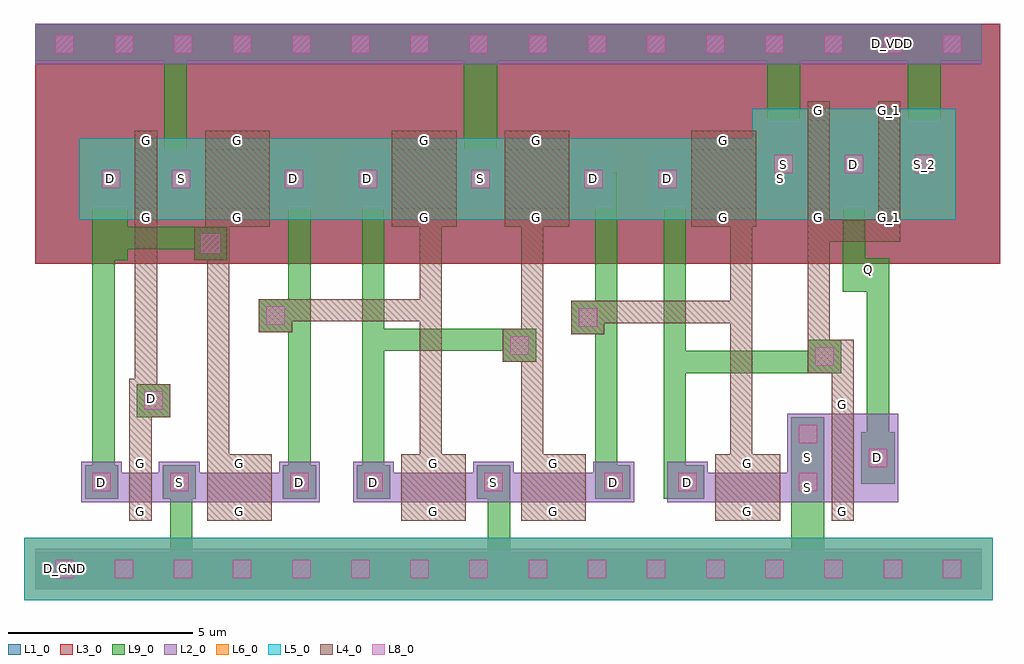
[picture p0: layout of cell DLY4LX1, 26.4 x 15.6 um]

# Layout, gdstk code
import gdstk
lib = gdstk.Library(unit=1e-6, precision=1e-09)
def R(c, l, rs):  # rectangles x0, y0, x1, y1
    for r in rs: c.add(gdstk.rectangle(r[:2], r[2:], *l))
def A(c, l, x, y, w, h, nx, ny, dx, dy):  # array of equal rectangles
    R(c, l, [(x+i*dx, y+j*dy, x+i*dx+w, y+j*dy+h) for i in range(nx) for j in range(ny)])
def P(c, l, *ps):  # polygons
    for p in ps: c.add(gdstk.Polygon(p, *l))
L1_0 = (1, 0)
L2_0 = (2, 0)
L3_0 = (3, 0)
L4_0 = (4, 0)
L5_0 = (5, 0)
L6_0 = (6, 0)
L8_0 = (8, 0)
L9_0 = (9, 0)

dly4lx1 = lib.new_cell('DLY4LX1')
R(dly4lx1, L1_0, [(3.9,5.8,9.9,10.4), (3.9,5.8,28,12.3), (5.8,5.8,12.95,10.4), (10.85,5.8,18,10.4), (13.9,5.8,21.05,10.4), (18.95,5.8,26.1,10.4), (22.1,5.8,30,11.2), (27.75,10.35,30,12.3)])
A(dly4lx1, L2_0, 23.6, 7.3, 1.1, 2.4, 3, 1, 1.9, 0)
R(dly4lx1, L2_0, [(3.9,-3,29.5,-1.9), (5.15,-0.65,6.25,0.45), (6.25,-0.65,7.25,0.15), (7.25,-0.65,8.35,0.45), (7.25,-0.65,8.35,0.45), (8.35,-0.65,10.5,0.15), (10.5,-0.65,11.6,0.45), (12.5,-0.65,13.6,0.45), (13.6,-0.65,15.75,0.15), (15.75,-0.65,16.85,0.45), (15.75,-0.65,16.85,0.45), (16.85,-0.65,19,0.15), (19,-0.65,20.1,0.45), (21,-0.65,22.1,0.45), (22.1,-0.65,24.25,0.15), (24.25,-0.65,25.35,0.45), (24.25,-0.65,25.35,0.15), (24.25,-0.65,25.35,1.75), (25.35,-0.65,26.15,1.75), (26.15,-0.65,27.25,1.75), (24.25,0.65,25.35,1.75), (5.4,7.3,6.5,8.9), (6.5,7.3,7.3,8.9), (7.3,7.3,8.4,8.9), (7.3,7.3,8.4,8.9), (8.4,7.3,10.35,8.9), (10.35,7.3,11.45,8.9), (12.35,7.3,13.45,8.9), (13.45,7.3,15.4,8.9), (15.4,7.3,16.5,8.9), (15.4,7.3,16.5,8.9), (16.5,7.3,18.45,8.9), (18.45,7.3,19.55,8.9), (20.45,7.3,21.55,8.9), (21.55,7.3,23.5,8.9), (23.5,7.3,24.6,8.9), (24.7,7.3,25.5,9.7), (26.6,7.3,27.4,9.7), (3.9,11.2,29.5,12.3)])
R(dly4lx1, L3_0, [(3.9,5.8,9.9,10.4), (3.9,5.8,28,12.3), (5.8,5.8,12.95,10.4), (10.85,5.8,18,10.4), (13.9,5.8,21.05,10.4), (18.95,5.8,26.1,10.4), (22.1,5.8,30,11.2), (27.85,10.65,30,12.3)])
R(dly4lx1, L4_0, [(6.45,-1.15,7.05,-0.65), (6.45,-1.15,7.05,0.65), (8.55,-1.15,10.3,-0.65), (8.55,-1.15,10.3,0.65), (8.55,-1.15,9.15,9.1), (13.8,-1.15,15.55,-0.65), (13.8,-1.15,15.55,0.65), (14.3,-1.15,14.9,9.1), (17.05,-1.15,18.8,-0.65), (17.05,-1.15,18.8,0.65), (17.05,-1.15,17.65,9.1), (22.3,-1.15,24.05,-0.65), (22.3,-1.15,24.05,0.65), (22.7,-1.15,23.3,4.8), (25.45,-1.15,26.05,-0.65), (25.45,-1.15,26.05,2.25), (6.45,0.15,7.05,0.65), (8.55,0.15,10.3,0.65), (13.8,0.15,15.55,0.65), (17.05,0.15,18.8,0.65), (22.3,0.15,24.05,0.65), (6.65,1.65,7.55,2.55), (25.45,1.75,26.05,2.25), (25.45,1.95,26.05,3.75), (24.8,2.85,25.7,3.75), (24.8,2.85,25.4,7.1), (16.55,3.15,17.45,4.05), (18.4,3.9,19.3,4.8), (9.95,3.95,10.85,4.85), (18.4,4.2,23.3,4.8), (22.7,4.2,23.3,9.1), (9.95,4.25,14.9,4.85), (8.2,5.9,9.1,6.8), (25.05,6.4,27.3,7), (6.6,6.8,7.2,9.4), (6.6,6.8,7.2,7.3), (8.5,6.8,10.25,9.4), (8.5,6.8,10.25,7.3), (13.55,6.8,15.3,9.4), (13.55,6.8,15.3,7.3), (16.6,6.8,18.35,9.4), (16.6,6.8,18.35,7.3), (21.65,6.8,23.4,9.4), (21.65,6.8,23.4,7.3), (24.8,6.8,25.4,7.3), (24.8,6.8,25.4,10.2), (26.7,6.8,27.3,7.3), (26.7,6.8,27.3,10.2), (6.6,8.9,7.2,9.4), (8.5,8.9,10.25,9.4), (13.55,8.9,15.3,9.4), (16.6,8.9,18.35,9.4), (21.65,8.9,23.4,9.4), (24.8,9.7,25.4,10.2), (26.7,9.7,27.3,10.2)])
P(dly4lx1, L4_0, [(6.45,-1.15),(7.05,-1.15),(7.05,2.1),(7.2,2.1),(7.2,9.1),(6.6,9.1),(6.6,2.7),(6.45,2.7)])
R(dly4lx1, L5_0, [(3.6,-3.3,29.8,-1.6), (5.1,7,8.7,9.2), (7,7,11.75,9.2), (11.55,7,12.3,9.2), (12.05,7,16.8,9.2), (15.1,7,19.85,9.2), (19.6,7,20.35,9.2), (20.15,7,24.9,9.2), (23.3,7,28.8,10)])
R(dly4lx1, L6_0, [(3.6,-3.3,29.8,-1.6), (5.1,7,8.7,9.2), (7,7,11.75,9.2), (11.55,7,12.3,9.2), (12.05,7,16.8,9.2), (15.1,7,19.85,9.2), (19.6,7,20.35,9.2), (20.15,7,24.9,9.2), (23.3,7,28.8,10)])
A(dly4lx1, L8_0, 4.45, -2.7, 0.5, 0.5, 16, 2, 1.6, 14.2)
A(dly4lx1, L8_0, 23.9, 8.25, 0.5, 0.5, 3, 1, 1.9, 0)
R(dly4lx1, L8_0, [(5.45,-0.35,5.95,0.15), (7.55,-0.35,8.05,0.15), (7.55,-0.35,8.05,0.15), (10.8,-0.35,11.3,0.15), (12.8,-0.35,13.3,0.15), (16.05,-0.35,16.55,0.15), (16.05,-0.35,16.55,0.15), (19.3,-0.35,19.8,0.15), (21.3,-0.35,21.8,0.15), (24.55,-0.35,25.05,0.15), (26.45,0.3,26.95,0.8), (24.55,0.95,25.05,1.45), (6.85,1.85,7.35,2.35), (25,3.05,25.5,3.55), (16.75,3.35,17.25,3.85), (18.6,4.1,19.1,4.6), (10.15,4.15,10.65,4.65), (8.4,6.1,8.9,6.6), (5.7,7.85,6.2,8.35), (7.6,7.85,8.1,8.35), (7.6,7.85,8.1,8.35), (10.65,7.85,11.15,8.35), (12.65,7.85,13.15,8.35), (15.7,7.85,16.2,8.35), (15.7,7.85,16.2,8.35), (18.75,7.85,19.25,8.35), (20.75,7.85,21.25,8.35)])
A(dly4lx1, L9_0, 23.7, 7.8, 0.9, 1.4, 3, 1, 1.9, 0)
R(dly4lx1, L9_0, [(3.9,-3,29.5,-2), (4.4,-2.75,5,-2.15), (16.15,-2.55,16.75,0.35), (24.35,-2.5,25.25,-0.1), (5.25,-0.55,6.15,0.35), (7.35,-0.55,8.25,0.35), (7.35,-0.55,8.25,0.35), (10.6,-0.55,11.5,0.35), (10.75,-0.55,11.35,8.3), (12.6,-0.55,13.5,0.35), (12.75,-0.55,13.35,8.3), (15.85,-0.55,16.75,0.35), (15.85,-0.55,16.75,0.35), (19.05,-0.55,19.65,8.3), (19.1,-0.55,20,0.35), (20.9,-0.55,21.5,8.3), (21.1,-0.55,22,0.35), (24.35,-0.55,25.25,0.35), (5.45,-0.4,6.05,2.05), (26.25,-0.15,27.15,1.25), (24.35,0.05,25.25,0.8), (24.35,0.75,25.25,1.65), (6.65,1.65,7.55,2.55), (6.75,1.85,7.35,2.45), (21.2,2.85,25.7,3.45), (24.8,2.85,25.7,3.75), (16.55,3.15,17.45,4.05), (13.05,3.45,17.45,4.05), (18.4,3.9,19.3,4.8), (9.95,3.95,10.85,4.85), (25.75,5.05,26.65,5.2), (25.85,5.05,26.75,5.95), (26.75,5.7,27,5.95), (5.5,5.9,6.4,7.55), (8.2,5.9,9.1,6.8), (5.5,6.2,9.1,6.8), (6.05,7.5,6.4,7.65), (5.5,7.6,6.4,8.6), (7.4,7.6,8.3,8.6), (7.4,7.6,8.3,8.6), (10.45,7.6,11.35,8.6), (12.45,7.6,13.35,8.6), (15.5,7.6,16.4,8.6), (15.5,7.6,16.4,8.6), (18.55,7.6,19.45,8.6), (20.55,7.6,21.45,8.6), (7.4,7.65,8,11.8), (15.5,7.65,16.4,11.85), (23.7,8.85,24.6,11.8), (27.5,8.95,28.4,11.5), (3.9,11.3,29.5,12.3), (26.8,11.45,27.4,12.05)])
P(dly4lx1, L9_0, [(7.55,-2.6),(25.6,-2.6),(25.6,-2),(8.15,-2),(8.15,0.35),(7.55,0.35)],
  [(5.45,1.45),(6.05,1.45),(6.05,8),(6.3,8),(6.3,8.6),(5.45,8.6)],
  [(25.8,5.15),(26.4,5.15),(26.4,0.25),(27,0.25),(27,5.75),(25.8,5.75)],
  [(25.75,5.15),(26.9,5.15),(26.9,5.75),(26.35,5.75),(26.35,8.8),(25.75,8.8)])
dly4lx1.add(gdstk.Label('G', (6.9,7.052), layer=4, texttype=0))
dly4lx1.add(gdstk.Label('G', (6.9,9.152), layer=4, texttype=0))
dly4lx1.add(gdstk.Label('S', (7.851,8.101), layer=9, texttype=0))
dly4lx1.add(gdstk.Label('D', (5.951,8.101), layer=9, texttype=0))
dly4lx1.add(gdstk.Label('G', (6.75,-0.898), layer=4, texttype=0))
dly4lx1.add(gdstk.Label('G', (6.75,0.402), layer=4, texttype=0))
dly4lx1.add(gdstk.Label('S', (7.801,-0.099), layer=9, texttype=0))
dly4lx1.add(gdstk.Label('D', (5.701,-0.099), layer=9, texttype=0))
dly4lx1.add(gdstk.Label('G', (9.375,7.052), layer=4, texttype=0))
dly4lx1.add(gdstk.Label('G', (9.375,9.152), layer=4, texttype=0))
dly4lx1.add(gdstk.Label('S', (7.849,8.101), layer=9, texttype=0))
dly4lx1.add(gdstk.Label('D', (10.899,8.101), layer=9, texttype=0))
dly4lx1.add(gdstk.Label('G', (14.425,7.052), layer=4, texttype=0))
dly4lx1.add(gdstk.Label('G', (14.425,9.152), layer=4, texttype=0))
dly4lx1.add(gdstk.Label('S', (15.951,8.101), layer=9, texttype=0))
dly4lx1.add(gdstk.Label('D', (12.901,8.101), layer=9, texttype=0))
dly4lx1.add(gdstk.Label('G', (9.425,-0.898), layer=4, texttype=0))
dly4lx1.add(gdstk.Label('G', (9.425,0.402), layer=4, texttype=0))
dly4lx1.add(gdstk.Label('S', (7.799,-0.099), layer=9, texttype=0))
dly4lx1.add(gdstk.Label('D', (11.049,-0.099), layer=9, texttype=0))
dly4lx1.add(gdstk.Label('G', (14.675,-0.898), layer=4, texttype=0))
dly4lx1.add(gdstk.Label('G', (14.675,0.402), layer=4, texttype=0))
dly4lx1.add(gdstk.Label('S', (16.301,-0.099), layer=9, texttype=0))
dly4lx1.add(gdstk.Label('D', (13.051,-0.099), layer=9, texttype=0))
dly4lx1.add(gdstk.Label('G', (17.475,7.052), layer=4, texttype=0))
dly4lx1.add(gdstk.Label('G', (17.475,9.152), layer=4, texttype=0))
dly4lx1.add(gdstk.Label('S', (15.949,8.101), layer=9, texttype=0))
dly4lx1.add(gdstk.Label('D', (18.999,8.101), layer=9, texttype=0))
dly4lx1.add(gdstk.Label('G', (17.925,-0.898), layer=4, texttype=0))
dly4lx1.add(gdstk.Label('G', (17.925,0.402), layer=4, texttype=0))
dly4lx1.add(gdstk.Label('S', (16.299,-0.099), layer=9, texttype=0))
dly4lx1.add(gdstk.Label('D', (19.549,-0.099), layer=9, texttype=0))
dly4lx1.add(gdstk.Label('G', (22.525,7.052), layer=4, texttype=0))
dly4lx1.add(gdstk.Label('G', (22.525,9.152), layer=4, texttype=0))
dly4lx1.add(gdstk.Label('S', (24.051,8.101), layer=2, texttype=0))
dly4lx1.add(gdstk.Label('D', (21.001,8.101), layer=9, texttype=0))
dly4lx1.add(gdstk.Label('G', (23.175,-0.898), layer=4, texttype=0))
dly4lx1.add(gdstk.Label('G', (23.175,0.402), layer=4, texttype=0))
dly4lx1.add(gdstk.Label('S', (24.801,-0.249), layer=2, texttype=0))
dly4lx1.add(gdstk.Label('D', (21.551,-0.099), layer=9, texttype=0))
dly4lx1.add(gdstk.Label('G', (25.75,-0.898), layer=4, texttype=0))
dly4lx1.add(gdstk.Label('G', (25.75,2.002), layer=4, texttype=0))
dly4lx1.add(gdstk.Label('S', (24.799,0.551), layer=2, texttype=0))
dly4lx1.add(gdstk.Label('D', (26.699,0.551), layer=9, texttype=0))
dly4lx1.add(gdstk.Label('G', (25.1,7.052), layer=4, texttype=0))
dly4lx1.add(gdstk.Label('G', (25.1,9.952), layer=4, texttype=0))
dly4lx1.add(gdstk.Label('G_1', (27,7.052), layer=4, texttype=0))
dly4lx1.add(gdstk.Label('G_1', (27,9.952), layer=4, texttype=0))
dly4lx1.add(gdstk.Label('S', (24.149,8.501), layer=9, texttype=0))
dly4lx1.add(gdstk.Label('D', (26.049,8.501), layer=9, texttype=0))
dly4lx1.add(gdstk.Label('S_2', (27.949,8.5), layer=9, texttype=0))
dly4lx1.add(gdstk.Label('D', (7.05,2.15), layer=50, texttype=0))
dly4lx1.add(gdstk.Label('D_GND', (4.7,-2.45), layer=50, texttype=0))
dly4lx1.add(gdstk.Label('D_VDD', (27.1,11.75), layer=50, texttype=0))
dly4lx1.add(gdstk.Label('Q', (26.45,5.65), layer=50, texttype=0))

lib.write_gds('DLY4LX1.gds')
